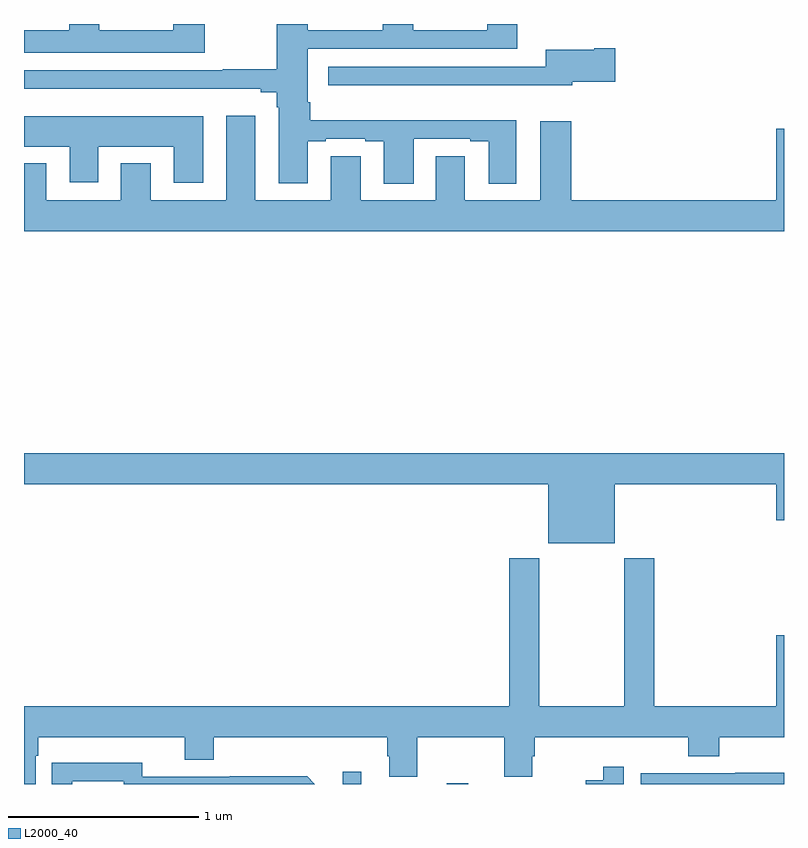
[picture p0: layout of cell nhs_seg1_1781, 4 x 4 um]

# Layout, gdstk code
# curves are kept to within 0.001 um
import gdstk
lib = gdstk.Library(unit=1e-6, precision=1e-09)
def R(c, l, rs):  # rectangles x0, y0, x1, y1
    for r in rs: c.add(gdstk.rectangle(r[:2], r[2:], *l))
def P(c, l, *ps):  # polygons
    for p in ps: c.add(gdstk.Polygon(p, *l))
L2000_40 = (2000, 40)

nhs_seg1_1781 = lib.new_cell('nhs_seg1_1781')
R(nhs_seg1_1781, L2000_40, [(210.678,506.199,210.775,506.263), (211.226,506.199,211.337,506.203)])
P(nhs_seg1_1781, L2000_40, [(211.051,509.595),(211.349,509.595),(211.349,509.583),(211.445,509.583),(211.445,509.358),(211.591,509.358),(211.591,509.693),(210.506,509.693),(210.506,509.788),(210.493,509.788),(210.493,510.069),(211.597,510.069),(211.597,510.199),(211.439,510.199),(211.439,510.165),(211.048,510.165),(211.048,510.199),(210.887,510.199),(210.887,510.165),(210.493,510.165),(210.493,510.199),(210.331,510.199),(210.331,509.96),(210.046,509.96),(210.046,509.955),(209,509.955),(209,509.858),(210.245,509.858),(210.245,509.839),(210.329,509.839),(210.329,509.762),(210.341,509.762),(210.341,509.361),(210.493,509.361),(210.493,509.583),(210.589,509.583),(210.589,509.595),(210.797,509.595),(210.797,509.583),(210.893,509.583),(210.893,509.357),(211.051,509.357)],
  [(209.95,510.199),(209.786,510.199),(209.786,510.166),(209.395,510.166),(209.395,510.199),(209.237,510.199),(209.237,510.166),(209,510.166),(209,510.047),(209.95,510.047)],
  [(211.885,509.894),(212.113,509.894),(212.113,510.072),(212,510.072),(212,510.064),(211.745,510.064),(211.745,509.973),(210.6,509.973),(210.6,509.876),(211.885,509.876)],
  [(213,509.647),(212.96,509.647),(212.96,509.272),(211.879,509.272),(211.879,509.686),(211.718,509.686),(211.718,509.272),(211.321,509.272),(211.321,509.503),(211.166,509.503),(211.166,509.272),(210.772,509.272),(210.772,509.503),(210.614,509.503),(210.614,509.272),(210.217,509.272),(210.217,509.716),(210.065,509.716),(210.065,509.272),(209.668,509.272),(209.668,509.467),(209.51,509.467),(209.51,509.272),(209.116,509.272),(209.116,509.467),(209,509.467),(209,509.108),(213,509.108)],
  [(209.944,509.713),(209,509.713),(209,509.552),(209.24,509.552),(209.24,509.367),(209.392,509.367),(209.392,509.552),(209.789,509.552),(209.789,509.364),(209.944,509.364)],
  [(212.11,507.776),(212.96,507.776),(212.96,507.588),(213,507.588),(213,507.94),(209,507.94),(209,507.776),(211.76,507.776),(211.76,507.467),(212.11,507.467)],
  [(213,506.983),(212.96,506.983),(212.96,506.608),(212.318,506.608),(212.318,507.388),(212.158,507.388),(212.158,506.608),(211.713,506.608),(211.713,507.388),(211.553,507.388),(211.553,506.608),(209,506.608),(209,506.199),(209.061,506.199),(209.061,506.348),(209.075,506.348),(209.075,506.444),(209.846,506.444),(209.846,506.327),(209.999,506.327),(209.999,506.444),(210.911,506.444),(210.911,506.346),(210.923,506.346),(210.923,506.236),(211.071,506.236),(211.071,506.444),(211.528,506.444),(211.528,506.236),(211.675,506.236),(211.675,506.346),(211.688,506.346),(211.688,506.444),(212.495,506.444),(212.495,506.345),(212.66,506.345),(212.66,506.444),(213,506.444)],
  [(209.254,506.214),(209.526,506.214),(209.526,506.199),(210.531,506.199),(210.49,506.24),(210.082,506.24),(210.082,506.238),(209.622,506.238),(209.622,506.311),(209.146,506.31),(209.146,506.199),(209.254,506.199)],
  [(212.157,506.29),(212.049,506.29),(212.049,506.22),(211.956,506.22),(211.956,506.199),(212.157,506.199)],
  [(213,506.258),(212.743,506.258),(212.743,506.256),(212.247,506.256),(212.247,506.199),(213,506.199)])

lib.write_gds('nhs_seg1_1781.gds')
